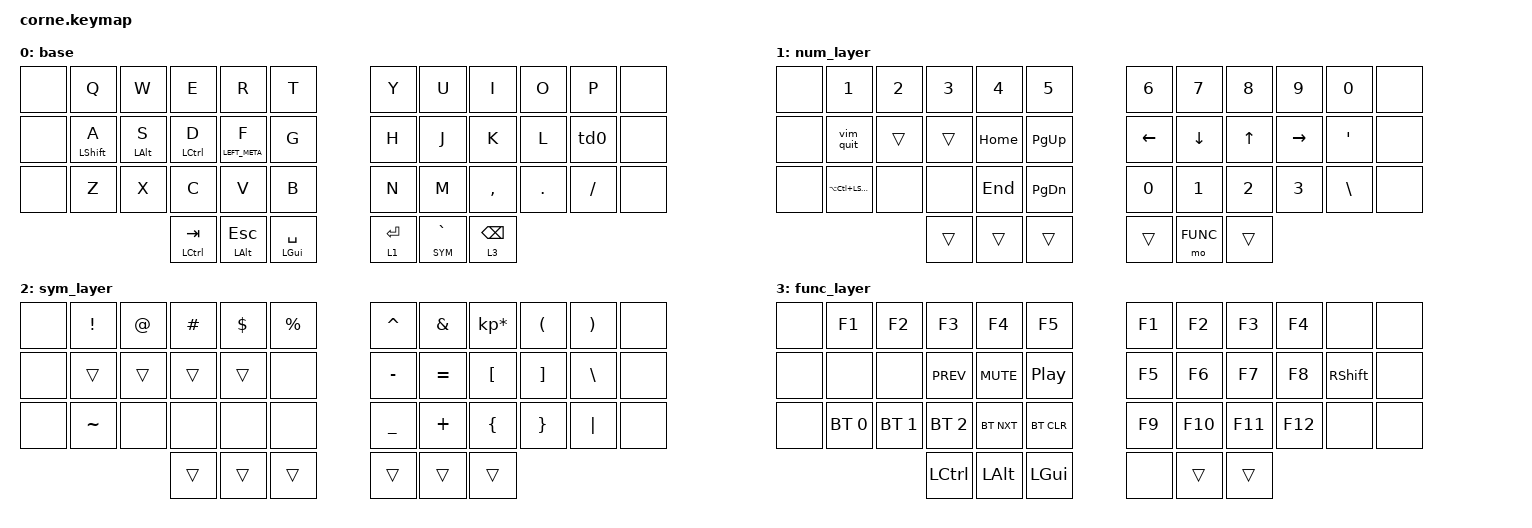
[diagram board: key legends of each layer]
#include <behaviors.dtsi>
#include <dt-bindings/zmk/bt.h>
#include <dt-bindings/zmk/keys.h>

/*
 * Copyright (c) 2020 The ZMK Contributors
 *
 * SPDX-License-Identifier: MIT
 */
// LAYERS

#define DEFAULT 0
#define NUM     1
#define SYM     2
#define FUNC    3

// MACROS

#define SUPER LC(LSHIFT)
#define SUPER2 LA(LC(LSHIFT))

&mt {
    tapping-term-ms = <200>;
    flavor = "tap-preferred";
};

/ {
    behaviors {
        hm: homerow_mods {
            compatible = "zmk,behavior-hold-tap";
            label = "HOMEROW_MODS";
            #binding-cells = <2>;
            tapping-term-ms = <200>;
            quick-tap-ms = <0>;
            flavor = "tap-preferred";
            bindings = <&kp>, <&kp>;
        };

        td0: tap_dance_0 {
            compatible = "zmk,behavior-tap-dance";
            label = "TAP_DANCE_0";
            #binding-cells = <0>;
            tapping-term-ms = <200>;
            bindings = <&hm RGUI SEMI>, <&kp SQT>;
        };

        td1: tap_dance_1 {
            compatible = "zmk,behavior-tap-dance";
            label = "TAP_DANCE_1";
            #binding-cells = <0>;
            tapping-term-ms = <200>;
            bindings = <&mt LCTRL TAB>, <&kp ESC>;
        };
    };

    combos {
        compatible = "zmk,combos";

        combo_cword {
            timeout-ms = <50>;
            key-positions = <16 19>;
            bindings = <&caps_word>;
        };

        combo_vimwq {
            timeout-ms = <50>;
            key-positions = <1 2>;
            bindings = <&vim_quit>;
        };
    };

    macros {
        vim_quit: vim_quit {
            label = "ZM_vim_quit";
            compatible = "zmk,behavior-macro";
            #binding-cells = <0>;
            bindings = <&macro_tap>, <&kp ESC &kp COLON &kp W &kp Q>;
        };
    };

    keymap {
        compatible = "zmk,keymap";

        base {
            bindings = <
&none  &kp Q             &kp W       &kp E          &kp R             &kp T             &kp Y      &kp U          &kp I            &kp O    &kp P     &none
&none  &hm LEFT_SHIFT A  &hm LALT S  &hm LCTRL D    &hm LEFT_META F   &kp G             &kp H      &kp J          &kp K            &kp L    &td0      &none
&none  &kp Z             &kp X       &kp C          &kp V             &kp B             &kp N      &kp M          &kp COMMA        &kp DOT  &kp FSLH  &none
                                     &mt LCTRL TAB  &mt LEFT_ALT ESC  &mt LGUI SPACE    &lt 1 RET  &lt SYM GRAVE  &lt 3 BACKSPACE
            >;
        };

        num_layer {
            bindings = <
&none  &kp NUMBER_1  &kp NUMBER_2  &kp NUMBER_3  &kp NUMBER_4  &kp N5           &kp NUMBER_6    &kp N7          &kp N8        &kp N9     &kp N0    &none
&none  &vim_quit     &trans        &trans        &kp HOME      &kp PG_UP        &kp LEFT_ARROW  &kp DOWN_ARROW  &kp UP_ARROW  &kp RIGHT  &kp SQT   &none
&none  &kp SUPER2    &none         &none         &kp END       &kp PAGE_DOWN    &kp N0          &kp N1          &kp N2        &kp N3     &kp BSLH  &none
                                   &trans        &trans        &trans           &trans          &mo FUNC        &trans
            >;
        };

        sym_layer {
            bindings = <
&none  &kp EXCL   &kp AT  &kp HASH  &kp DLLR  &kp PRCNT    &kp CARET  &kp AMPS   &kp KP_MULTIPLY  &kp LPAR  &kp RPAR  &none
&none  &trans     &trans  &trans    &trans    &none        &kp MINUS  &kp EQUAL  &kp LBKT         &kp RBKT  &kp BSLH  &none
&none  &kp TILDE  &none   &none     &none     &none        &kp UNDER  &kp PLUS   &kp LBRC         &kp RBRC  &kp PIPE  &none
                          &trans    &trans    &trans       &trans     &trans     &trans
            >;
        };

        func_layer {
            bindings = <
&none  &kp F1        &kp F2        &kp F3        &kp F4        &kp F5              &kp F1  &kp F2   &kp F3   &kp F4   &none            &none
&none  &none         &none         &kp C_PREV    &kp K_MUTE    &kp C_PLAY_PAUSE    &kp F5  &kp F6   &kp F7   &kp F8   &kp RIGHT_SHIFT  &none
&none  &bt BT_SEL 0  &bt BT_SEL 1  &bt BT_SEL 2  &bt BT_NXT    &bt BT_CLR          &kp F9  &kp F10  &kp F11  &kp F12  &none            &none
                                   &kp LCTRL     &kp LEFT_ALT  &kp LEFT_GUI        &none   &trans   &trans
            >;
        };
    };
};
